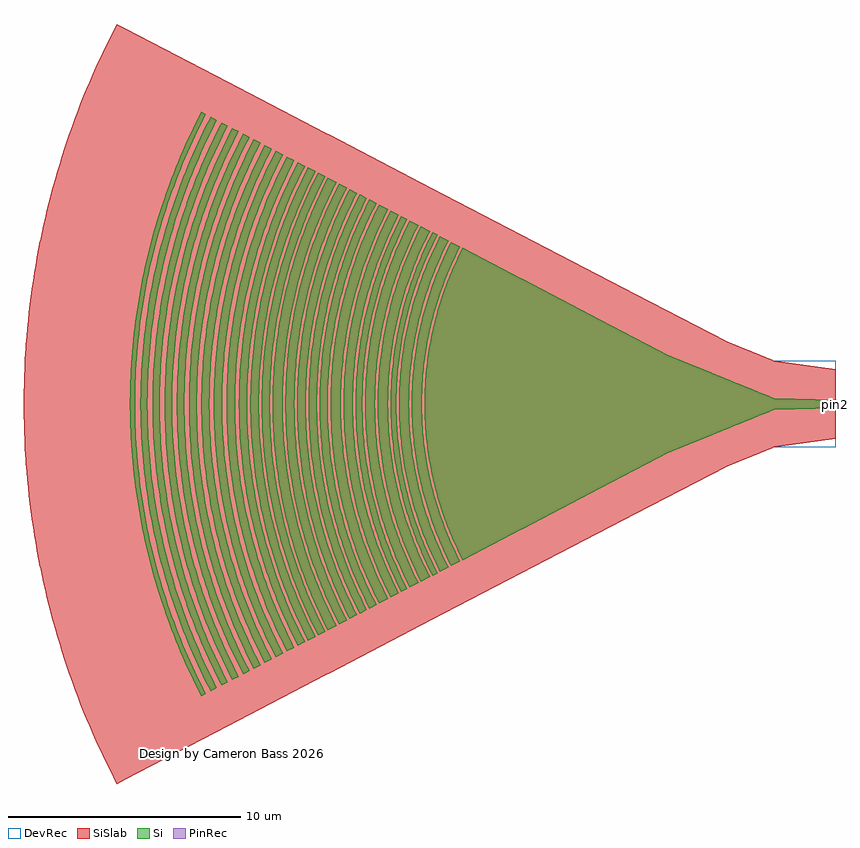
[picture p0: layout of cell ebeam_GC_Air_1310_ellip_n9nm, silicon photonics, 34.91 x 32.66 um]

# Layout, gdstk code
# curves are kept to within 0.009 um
import gdstk
lib = gdstk.Library(unit=1e-6, precision=1e-09)
def P(c, l, *ps):  # polygons
    for p in ps: c.add(gdstk.Polygon(p, *l))
Si = (1, 0)
PinRec = (1, 10)
SiSlab = (2, 0)
DevRec = (68, 0)

ebeam_gc_air_1310_ellip_ = lib.new_cell('ebeam_GC_Air_1310_ellip_n9nm')
P(ebeam_gc_air_1310_ellip_, Si, [(-16.044,-6.704),(-16.402,-5.965),(-16.776,-5.05),(-17.004,-4.381),(-17.269,-3.429),(-17.445,-2.599),(-17.572,-1.762),(-17.65,-0.917),(-17.678,-0.071),(-17.65,0.917),(-17.572,1.762),(-17.445,2.6),(-17.269,3.429),(-17.004,4.381),(-16.776,5.05),(-16.402,5.965),(-16.044,6.704),(-7.155,2.075),(-3.189,0.456),(-2.895,0.348),(-2.695,0.254),(-2.65,0.241),(0,0.175),(0,-0.175),(-2.68,-0.248),(-2.864,-0.335),(-3.204,-0.462),(-7.127,-2.062)],
  [(-16.536,-6.959),(-16.905,-6.195),(-17.242,-5.382),(-17.53,-4.55),(-17.77,-3.704),(-17.961,-2.844),(-18.101,-1.975),(-18.2,-0.953),(-18.23,-0.073),(-18.209,0.806),(-18.119,1.83),(-17.988,2.7),(-17.805,3.561),(-17.696,3.988),(-17.53,4.55),(-17.242,5.382),(-16.905,6.195),(-16.536,6.96),(-16.149,6.758),(-16.509,6.014),(-16.886,5.091),(-17.159,4.282),(-17.384,3.457),(-17.561,2.622),(-17.689,1.776),(-17.776,0.784),(-17.796,0.071),(-17.776,-0.784),(-17.689,-1.776),(-17.561,-2.621),(-17.384,-3.457),(-17.159,-4.282),(-16.886,-5.091),(-16.509,-6.014),(-16.149,-6.758)],
  [(-17.017,-7.21),(-17.399,-6.419),(-17.748,-5.577),(-18.046,-4.715),(-18.295,-3.838),(-18.492,-2.947),(-18.637,-2.047),(-18.73,-1.139),(-18.757,-0.684),(-18.771,-0.076),(-18.749,0.836),(-18.674,1.745),(-18.617,2.198),(-18.52,2.797),(-18.331,3.69),(-18.177,4.279),(-18.046,4.715),(-17.748,5.577),(-17.399,6.419),(-17.017,7.21),(-16.64,7.014),(-17.072,6.109),(-17.403,5.286),(-17.687,4.445),(-17.921,3.589),(-18.104,2.722),(-18.237,1.844),(-18.318,0.961),(-18.348,0.074),(-18.327,-0.812),(-18.237,-1.844),(-18.104,-2.722),(-17.921,-3.589),(-17.687,-4.445),(-17.403,-5.286),(-17.072,-6.109),(-16.64,-7.014)],
  [(-17.337,-7.377),(-17.728,-6.567),(-18.085,-5.706),(-18.39,-4.824),(-18.645,-3.927),(-18.847,-3.015),(-18.928,-2.556),(-19.015,-1.94),(-19.101,-1.01),(-19.132,-0.078),(-19.11,0.855),(-19.015,1.94),(-18.875,2.862),(-18.682,3.776),(-18.436,4.675),(-18.14,5.56),(-17.972,5.996),(-17.728,6.568),(-17.337,7.377),(-17.122,7.264),(-17.568,6.328),(-17.802,5.762),(-18.015,5.187),(-18.205,4.605),(-18.332,4.163),(-18.548,3.27),(-18.712,2.365),(-18.808,1.606),(-18.867,0.842),(-18.889,0.077),(-18.867,-0.842),(-18.808,-1.606),(-18.712,-2.365),(-18.548,-3.27),(-18.41,-3.866),(-18.291,-4.31),(-18.015,-5.187),(-17.802,-5.761),(-17.568,-6.328),(-17.122,-7.264)],
  [(-17.833,-7.635),(-18.302,-6.65),(-18.663,-5.755),(-18.97,-4.839),(-19.224,-3.908),(-19.424,-2.962),(-19.568,-2.008),(-19.657,-1.045),(-19.69,-0.08),(-19.666,0.886),(-19.587,1.848),(-19.452,2.804),(-19.331,3.437),(-19.224,3.908),(-18.97,4.839),(-18.663,5.755),(-18.489,6.206),(-18.237,6.798),(-17.833,7.635),(-17.442,7.431),(-17.899,6.474),(-18.194,5.748),(-18.504,4.86),(-18.76,3.956),(-18.992,2.884),(-19.132,1.954),(-19.196,1.331),(-19.228,0.861),(-19.25,0.078),(-19.228,-0.861),(-19.196,-1.331),(-19.132,-1.954),(-18.992,-2.884),(-18.797,-3.803),(-18.55,-4.711),(-18.249,-5.601),(-17.899,-6.474),(-17.442,-7.431)],
  [(-18.313,-7.885),(-18.731,-7.019),(-18.991,-6.408),(-19.17,-5.943),(-19.488,-4.997),(-19.75,-4.035),(-19.956,-3.059),(-20.106,-2.073),(-20.197,-1.08),(-20.231,-0.083),(-20.207,0.914),(-20.125,1.908),(-19.985,2.895),(-19.789,3.874),(-19.626,4.519),(-19.488,4.997),(-19.17,5.943),(-18.991,6.408),(-18.731,7.02),(-18.313,7.885),(-17.939,7.69),(-18.346,6.847),(-18.538,6.4),(-18.774,5.796),(-19.085,4.875),(-19.341,3.936),(-19.542,2.984),(-19.687,2.022),(-19.777,1.054),(-19.81,0.081),(-19.786,-0.891),(-19.706,-1.861),(-19.622,-2.504),(-19.542,-2.984),(-19.341,-3.935),(-19.085,-4.874),(-18.774,-5.796),(-18.346,-6.847),(-17.939,-7.69)],
  [(-18.675,-8.073),(-19.103,-7.186),(-19.494,-6.243),(-19.828,-5.278),(-20.02,-4.626),(-20.147,-4.131),(-20.358,-3.132),(-20.511,-2.122),(-20.605,-1.105),(-20.639,-0.085),(-20.615,0.935),(-20.531,1.954),(-20.388,2.964),(-20.26,3.633),(-20.147,4.131),(-20.02,4.626),(-19.828,5.278),(-19.494,6.243),(-19.103,7.186),(-18.675,8.073),(-18.418,7.94),(-18.699,7.373),(-18.906,6.916),(-19.162,6.297),(-19.338,5.827),(-19.502,5.352),(-19.696,4.711),(-19.826,4.226),(-19.977,3.574),(-20.156,2.585),(-20.261,1.755),(-20.326,0.92),(-20.35,0.084),(-20.326,-0.92),(-20.261,-1.755),(-20.156,-2.585),(-20.011,-3.41),(-19.905,-3.9),(-19.741,-4.549),(-19.553,-5.192),(-19.394,-5.669),(-18.973,-6.762),(-18.699,-7.373),(-18.418,-7.939)],
  [(-19.133,-8.312),(-19.574,-7.399),(-19.849,-6.754),(-20.038,-6.264),(-20.372,-5.267),(-20.649,-4.253),(-20.866,-3.224),(-21.024,-2.185),(-21.12,-1.138),(-21.156,-0.088),(-21.146,0.614),(-21.12,1.138),(-21.024,2.185),(-20.866,3.224),(-20.649,4.253),(-20.372,5.267),(-20.038,6.264),(-19.645,7.239),(-19.428,7.717),(-19.133,8.312),(-18.781,8.128),(-19.212,7.236),(-19.48,6.604),(-19.664,6.125),(-19.993,5.151),(-20.264,4.159),(-20.476,3.154),(-20.63,2.137),(-20.724,1.114),(-20.759,0.086),(-20.734,-0.942),(-20.65,-1.967),(-20.506,-2.985),(-20.412,-3.49),(-20.264,-4.159),(-19.993,-5.151),(-19.664,-6.125),(-19.281,-7.079),(-19.069,-7.547),(-18.781,-8.128)],
  [(-19.632,-8.572),(-20.085,-7.632),(-20.5,-6.631),(-20.854,-5.606),(-21.15,-4.563),(-21.384,-3.504),(-21.557,-2.434),(-21.667,-1.354),(-21.698,-0.814),(-21.716,-0.09),(-21.69,0.993),(-21.6,2.075),(-21.449,3.148),(-21.313,3.858),(-21.193,4.388),(-20.908,5.433),(-20.685,6.121),(-20.5,6.631),(-20.085,7.632),(-19.632,8.572),(-19.239,8.367),(-19.535,7.769),(-19.754,7.287),(-20.087,6.47),(-20.325,5.806),(-20.487,5.303),(-20.723,4.452),(-20.951,3.42),(-21.12,2.375),(-21.198,1.674),(-21.239,1.146),(-21.275,0.088),(-21.27,-0.441),(-21.239,-1.146),(-21.142,-2.199),(-20.984,-3.246),(-20.765,-4.281),(-20.487,-5.302),(-20.268,-5.973),(-20.087,-6.47),(-19.754,-7.287),(-19.535,-7.768),(-19.239,-8.367)],
  [(-20.047,-8.788),(-20.513,-7.822),(-20.938,-6.796),(-21.302,-5.745),(-21.605,-4.676),(-21.845,-3.591),(-22.022,-2.494),(-22.135,-1.388),(-22.167,-0.834),(-22.185,-0.093),(-22.158,1.018),(-22.067,2.126),(-21.997,2.678),(-21.879,3.409),(-21.649,4.497),(-21.356,5.568),(-21.003,6.622),(-20.588,7.653),(-20.358,8.159),(-20.047,8.788),(-19.741,8.628),(-19.967,8.176),(-20.271,7.516),(-20.549,6.843),(-20.74,6.332),(-20.973,5.643),(-21.178,4.944),(-21.355,4.239),(-21.471,3.705),(-21.628,2.809),(-21.742,1.907),(-21.813,1),(-21.839,0.091),(-21.829,-0.636),(-21.76,-1.726),(-21.655,-2.629),(-21.471,-3.705),(-21.355,-4.238),(-21.178,-4.944),(-20.973,-5.642),(-20.801,-6.16),(-20.549,-6.842),(-20.343,-7.348),(-20.045,-8.012),(-19.741,-8.628)],
  [(-20.467,-9.007),(-20.946,-8.015),(-21.382,-6.963),(-21.754,-5.887),(-22.065,-4.792),(-22.196,-4.237),(-22.346,-3.493),(-22.516,-2.367),(-22.621,-1.233),(-22.66,-0.095),(-22.632,1.043),(-22.538,2.179),(-22.379,3.306),(-22.275,3.866),(-22.11,4.608),(-21.81,5.706),(-21.637,6.248),(-21.382,6.963),(-20.946,8.015),(-20.467,9.007),(-20.153,8.843),(-20.466,8.21),(-20.771,7.53),(-21.049,6.838),(-21.241,6.312),(-21.416,5.782),(-21.626,5.066),(-21.809,4.343),(-21.927,3.797),(-22.088,2.878),(-22.205,1.954),(-22.277,1.024),(-22.304,0.093),(-22.286,-0.838),(-22.223,-1.769),(-22.115,-2.694),(-21.927,-3.797),(-21.809,-4.343),(-21.626,-5.066),(-21.471,-5.604),(-21.241,-6.312),(-20.982,-7.011),(-20.771,-7.53),(-20.466,-8.21),(-20.153,-8.843)],
  [(-20.902,-9.233),(-21.394,-8.213),(-21.84,-7.136),(-22.04,-6.587),(-22.222,-6.033),(-22.541,-4.911),(-22.675,-4.342),(-22.829,-3.579),(-23.004,-2.426),(-23.111,-1.263),(-23.15,-0.097),(-23.145,0.487),(-23.111,1.263),(-23.004,2.426),(-22.829,3.58),(-22.587,4.722),(-22.28,5.847),(-21.909,6.954),(-21.473,8.036),(-21.231,8.567),(-20.902,9.233),(-20.577,9.063),(-20.9,8.411),(-21.212,7.714),(-21.497,7.005),(-21.694,6.467),(-21.874,5.923),(-22.089,5.19),(-22.232,4.635),(-22.397,3.89),(-22.562,2.949),(-22.682,2.002),(-22.756,1.05),(-22.784,0.096),(-22.765,-0.859),(-22.701,-1.812),(-22.59,-2.76),(-22.397,-3.89),(-22.232,-4.635),(-22.089,-5.19),(-21.874,-5.923),(-21.694,-6.467),(-21.497,-7.005),(-21.212,-7.714),(-20.9,-8.411),(-20.577,-9.063)],
  [(-21.353,-9.468),(-21.691,-8.786),(-21.938,-8.24),(-22.17,-7.689),(-22.385,-7.131),(-22.766,-5.996),(-23.081,-4.842),(-23.329,-3.671),(-23.508,-2.488),(-23.618,-1.295),(-23.647,-0.698),(-23.658,-0.1),(-23.653,0.499),(-23.618,1.296),(-23.508,2.488),(-23.329,3.671),(-23.081,4.842),(-22.766,5.996),(-22.385,7.131),(-22.17,7.69),(-21.938,8.241),(-21.691,8.786),(-21.353,9.468),(-21.007,9.287),(-21.254,8.795),(-21.581,8.084),(-21.808,7.542),(-22.086,6.811),(-22.277,6.256),(-22.505,5.506),(-22.703,4.749),(-22.873,3.986),(-23.042,3.022),(-23.165,2.051),(-23.241,1.075),(-23.269,0.098),(-23.25,-0.88),(-23.184,-1.857),(-23.071,-2.828),(-22.873,-3.985),(-22.703,-4.749),(-22.557,-5.318),(-22.337,-6.069),(-22.152,-6.626),(-21.88,-7.36),(-21.581,-8.084),(-21.338,-8.618),(-21.007,-9.287)],
  [(-21.841,-9.721),(-22.098,-9.208),(-22.44,-8.463),(-22.678,-7.897),(-22.899,-7.323),(-23.103,-6.744),(-23.29,-6.158),(-23.461,-5.568),(-23.614,-4.973),(-23.75,-4.373),(-23.868,-3.77),(-23.969,-3.164),(-24.052,-2.555),(-24.165,-1.33),(-24.195,-0.717),(-24.206,-0.102),(-24.177,1.127),(-24.076,2.352),(-23.969,3.164),(-23.868,3.77),(-23.75,4.373),(-23.614,4.973),(-23.461,5.569),(-23.29,6.158),(-23.103,6.744),(-22.899,7.324),(-22.678,7.897),(-22.44,8.463),(-22.098,9.208),(-21.841,9.722),(-21.458,9.522),(-21.798,8.837),(-22.046,8.289),(-22.496,7.172),(-22.697,6.605),(-22.88,6.032),(-23.197,4.87),(-23.446,3.693),(-23.626,2.502),(-23.69,1.904),(-23.736,1.304),(-23.777,0.1),(-23.748,-1.103),(-23.69,-1.904),(-23.626,-2.502),(-23.446,-3.693),(-23.197,-4.87),(-22.88,-6.032),(-22.697,-6.604),(-22.496,-7.172),(-22.046,-8.289),(-21.798,-8.837),(-21.458,-9.522)],
  [(-22.255,-9.937),(-22.783,-8.841),(-23.032,-8.265),(-23.264,-7.681),(-23.478,-7.091),(-23.737,-6.294),(-24.068,-5.083),(-24.327,-3.853),(-24.43,-3.234),(-24.515,-2.611),(-24.582,-1.986),(-24.631,-1.36),(-24.661,-0.733),(-24.673,-0.105),(-24.667,0.524),(-24.643,1.152),(-24.54,2.403),(-24.461,3.027),(-24.364,3.647),(-24.249,4.265),(-24.068,5.083),(-23.737,6.294),(-23.545,6.893),(-23.264,7.681),(-23.032,8.266),(-22.783,8.842),(-22.255,9.937),(-21.946,9.776),(-22.293,9.074),(-22.548,8.512),(-22.863,7.75),(-23.08,7.171),(-23.281,6.587),(-23.52,5.798),(-23.68,5.201),(-23.866,4.398),(-23.985,3.792),(-24.086,3.181),(-24.215,2.16),(-24.295,1.133),(-24.325,0.103),(-24.319,-0.515),(-24.295,-1.132),(-24.215,-2.16),(-24.086,-3.181),(-23.985,-3.792),(-23.866,-4.398),(-23.68,-5.201),(-23.52,-5.797),(-23.281,-6.586),(-23.08,-7.171),(-22.787,-7.941),(-22.548,-8.511),(-22.293,-9.074),(-21.946,-9.776)],
  [(-22.689,-10.163),(-22.96,-9.623),(-23.231,-9.04),(-23.486,-8.451),(-23.723,-7.854),(-23.942,-7.25),(-24.143,-6.64),(-24.385,-5.819),(-24.545,-5.197),(-24.687,-4.57),(-24.81,-3.94),(-24.916,-3.307),(-25.003,-2.67),(-25.071,-2.031),(-25.121,-1.39),(-25.152,-0.75),(-25.164,-0.107),(-25.158,0.536),(-25.133,1.178),(-25.09,1.818),(-25.028,2.457),(-24.947,3.095),(-24.848,3.729),(-24.687,4.57),(-24.545,5.197),(-24.385,5.819),(-24.206,6.436),(-23.798,7.654),(-23.567,8.253),(-23.318,8.845),(-22.96,9.623),(-22.689,10.163),(-22.363,9.993),(-22.719,9.274),(-22.98,8.699),(-23.302,7.92),(-23.594,7.131),(-23.793,6.531),(-24.03,5.722),(-24.327,4.495),(-24.519,3.46),(-24.662,2.417),(-24.753,1.368),(-24.784,0.737),(-24.796,0.105),(-24.776,-0.947),(-24.739,-1.578),(-24.684,-2.207),(-24.552,-3.251),(-24.327,-4.495),(-24.137,-5.315),(-23.973,-5.925),(-23.793,-6.531),(-23.523,-7.329),(-23.302,-7.92),(-22.98,-8.699),(-22.719,-9.274),(-22.363,-9.993)],
  [(-23.121,-10.388),(-23.401,-9.83),(-23.678,-9.235),(-23.938,-8.633),(-24.181,-8.023),(-24.405,-7.406),(-24.611,-6.783),(-24.799,-6.155),(-24.969,-5.521),(-25.12,-4.883),(-25.253,-4.24),(-25.367,-3.594),(-25.462,-2.945),(-25.538,-2.293),(-25.61,-1.42),(-25.642,-0.766),(-25.654,-0.109),(-25.648,0.547),(-25.623,1.202),(-25.578,1.857),(-25.515,2.51),(-25.432,3.162),(-25.331,3.81),(-25.211,4.455),(-25.021,5.309),(-24.857,5.945),(-24.675,6.574),(-24.475,7.2),(-24.258,7.819),(-24.021,8.431),(-23.767,9.035),(-23.496,9.633),(-23.121,10.388),(-22.811,10.227),(-23.177,9.486),(-23.53,8.701),(-23.774,8.102),(-24,7.497),(-24.276,6.681),(-24.461,6.062),(-24.68,5.228),(-24.823,4.598),(-25.02,3.539),(-25.113,2.9),(-25.188,2.258),(-25.271,1.185),(-25.303,0.108),(-25.282,-0.969),(-25.244,-1.614),(-25.188,-2.258),(-25.02,-3.539),(-24.823,-4.598),(-24.68,-5.228),(-24.461,-6.061),(-24.276,-6.681),(-24,-7.497),(-23.774,-8.102),(-23.444,-8.898),(-23.177,-9.486),(-22.811,-10.226)],
  [(-23.59,-10.633),(-23.88,-10.055),(-24.164,-9.447),(-24.43,-8.831),(-24.678,-8.207),(-24.908,-7.576),(-25.118,-6.939),(-25.311,-6.296),(-25.485,-5.648),(-25.64,-4.994),(-25.775,-4.337),(-25.927,-3.455),(-26.018,-2.79),(-26.089,-2.122),(-26.141,-1.453),(-26.174,-0.783),(-26.187,-0.112),(-26.18,0.56),(-26.154,1.231),(-26.109,1.9),(-26.044,2.568),(-25.959,3.234),(-25.855,3.898),(-25.687,4.776),(-25.538,5.431),(-25.371,6.081),(-25.184,6.725),(-24.979,7.365),(-24.757,7.998),(-24.515,8.624),(-24.255,9.242),(-23.977,9.854),(-23.59,10.633),(-23.269,10.465),(-23.647,9.702),(-23.92,9.101),(-24.176,8.491),(-24.489,7.668),(-24.704,7.043),(-24.961,6.199),(-25.185,5.347),(-25.331,4.703),(-25.533,3.619),(-25.682,2.528),(-25.745,1.871),(-25.79,1.212),(-25.822,0.11),(-25.801,-0.991),(-25.763,-1.651),(-25.705,-2.309),(-25.567,-3.402),(-25.458,-4.054),(-25.331,-4.703),(-25.185,-5.347),(-24.961,-6.199),(-24.704,-7.042),(-24.489,-7.667),(-24.176,-8.491),(-23.92,-9.101),(-23.647,-9.702),(-23.269,-10.465)],
  [(-24.073,-10.884),(-24.373,-10.287),(-24.663,-9.664),(-24.936,-9.034),(-25.19,-8.396),(-25.425,-7.751),(-25.708,-6.88),(-25.899,-6.221),(-26.07,-5.556),(-26.222,-4.886),(-26.355,-4.212),(-26.468,-3.535),(-26.561,-2.854),(-26.634,-2.171),(-26.687,-1.486),(-26.721,-0.801),(-26.734,-0.114),(-26.727,0.573),(-26.701,1.258),(-26.654,1.943),(-26.561,2.855),(-26.468,3.535),(-26.355,4.212),(-26.222,4.886),(-26.07,5.556),(-25.899,6.221),(-25.708,6.88),(-25.424,7.751),(-25.19,8.396),(-24.936,9.035),(-24.663,9.664),(-24.373,10.287),(-24.073,10.884),(-23.757,10.719),(-24.05,10.135),(-24.336,9.522),(-24.689,8.692),(-24.933,8.061),(-25.159,7.423),(-25.431,6.563),(-25.612,5.911),(-25.825,5.034),(-26.042,3.928),(-26.146,3.259),(-26.232,2.588),(-26.33,1.465),(-26.363,0.789),(-26.376,0.113),(-26.354,-1.014),(-26.314,-1.69),(-26.256,-2.364),(-26.114,-3.482),(-26.003,-4.15),(-25.872,-4.814),(-25.723,-5.473),(-25.493,-6.345),(-25.23,-7.209),(-25.01,-7.849),(-24.773,-8.482),(-24.427,-9.316),(-24.05,-10.135),(-23.757,-10.719)],
  [(-24.543,-11.129),(-24.852,-10.515),(-25.149,-9.878),(-25.428,-9.234),(-25.687,-8.582),(-25.928,-7.922),(-26.148,-7.256),(-26.412,-6.359),(-26.588,-5.679),(-26.743,-4.994),(-26.879,-4.305),(-26.994,-3.613),(-27.089,-2.918),(-27.164,-2.219),(-27.219,-1.519),(-27.253,-0.819),(-27.266,-0.117),(-27.253,0.819),(-27.219,1.52),(-27.164,2.22),(-27.089,2.918),(-26.994,3.613),(-26.879,4.305),(-26.743,4.994),(-26.588,5.679),(-26.412,6.359),(-26.148,7.256),(-25.928,7.922),(-25.687,8.582),(-25.428,9.234),(-25.149,9.878),(-24.852,10.515),(-24.543,11.129),(-24.238,10.97),(-24.641,10.159),(-24.928,9.529),(-25.281,8.676),(-25.524,8.028),(-25.82,7.154),(-26.018,6.492),(-26.198,5.822),(-26.406,4.924),(-26.618,3.79),(-26.774,2.647),(-26.875,1.499),(-26.908,0.807),(-26.921,0.115),(-26.915,-0.576),(-26.888,-1.268),(-26.798,-2.418),(-26.718,-3.105),(-26.618,-3.79),(-26.406,-4.924),(-26.253,-5.598),(-26.08,-6.268),(-25.82,-7.154),(-25.602,-7.811),(-25.281,-8.676),(-24.928,-9.529),(-24.641,-10.159),(-24.238,-10.97)],
  [(-25.016,-11.375),(-25.333,-10.745),(-25.637,-10.095),(-25.921,-9.437),(-26.187,-8.77),(-26.432,-8.096),(-26.657,-7.415),(-26.864,-6.727),(-27.05,-6.035),(-27.215,-5.337),(-27.361,-4.634),(-27.485,-3.929),(-27.59,-3.219),(-27.673,-2.506),(-27.736,-1.791),(-27.787,-0.837),(-27.801,-0.12),(-27.794,0.598),(-27.766,1.314),(-27.717,2.03),(-27.648,2.744),(-27.557,3.456),(-27.405,4.399),(-27.266,5.104),(-27.107,5.803),(-26.928,6.498),(-26.728,7.187),(-26.509,7.87),(-26.187,8.77),(-25.921,9.437),(-25.637,10.095),(-25.333,10.745),(-25.016,11.375),(-24.718,11.22),(-25.132,10.387),(-25.425,9.743),(-25.699,9.09),(-26.035,8.209),(-26.265,7.54),(-26.475,6.864),(-26.665,6.182),(-26.887,5.265),(-27.115,4.109),(-27.224,3.409),(-27.313,2.707),(-27.382,2.003),(-27.43,1.296),(-27.464,0.118),(-27.457,-0.589),(-27.43,-1.296),(-27.338,-2.472),(-27.19,-3.642),(-27.074,-4.341),(-26.937,-5.035),(-26.724,-5.953),(-26.54,-6.636),(-26.265,-7.54),(-26.035,-8.209),(-25.699,-9.09),(-25.425,-9.743),(-25.03,-10.6),(-24.718,-11.219)],
  [(-25.478,-11.615),(-25.802,-10.971),(-26.112,-10.307),(-26.402,-9.635),(-26.673,-8.954),(-26.924,-8.266),(-27.154,-7.571),(-27.365,-6.869),(-27.555,-6.162),(-27.776,-5.211),(-27.917,-4.492),(-28.038,-3.77),(-28.137,-3.044),(-28.215,-2.316),(-28.272,-1.585),(-28.307,-0.855),(-28.322,-0.122),(-28.307,0.855),(-28.272,1.585),(-28.215,2.316),(-28.137,3.044),(-28.038,3.77),(-27.917,4.492),(-27.776,5.211),(-27.613,5.925),(-27.43,6.635),(-27.227,7.337),(-27.003,8.035),(-26.759,8.726),(-26.495,9.409),(-26.211,10.084),(-25.802,10.971),(-25.478,11.615),(-25.192,11.466),(-25.616,10.614),(-25.915,9.956),(-26.285,9.065),(-26.539,8.388),(-26.774,7.704),(-26.988,7.014),(-27.183,6.317),(-27.41,5.38),(-27.556,4.672),(-27.682,3.96),(-27.845,2.766),(-27.915,2.047),(-27.964,1.326),(-27.999,0.121),(-27.976,-1.084),(-27.934,-1.806),(-27.871,-2.526),(-27.787,-3.244),(-27.682,-3.959),(-27.461,-5.144),(-27.243,-6.083),(-27.055,-6.781),(-26.848,-7.475),(-26.539,-8.388),(-26.285,-9.065),(-25.915,-9.956),(-25.616,-10.614),(-25.192,-11.466)],
  [(-25.943,-11.857),(-26.274,-11.199),(-26.591,-10.521),(-26.887,-9.836),(-27.164,-9.141),(-27.42,-8.438),(-27.655,-7.728),(-27.87,-7.012),(-28.064,-6.29),(-28.289,-5.319),(-28.434,-4.585),(-28.556,-3.848),(-28.658,-3.107),(-28.738,-2.364),(-28.796,-1.618),(-28.832,-0.872),(-28.846,-0.125),(-28.832,0.872),(-28.796,1.618),(-28.738,2.364),(-28.658,3.108),(-28.556,3.849),(-28.434,4.585),(-28.289,5.319),(-28.123,6.048),(-27.937,6.773),(-27.729,7.49),(-27.5,8.202),(-27.252,8.907),(-26.982,9.605),(-26.591,10.521),(-26.274,11.199),(-25.943,11.858),(-25.662,11.711),(-25.989,11.062),(-26.401,10.168),(-26.687,9.486),(-27.038,8.566),(-27.278,7.868),(-27.566,6.926),(-27.757,6.213),(-27.98,5.254),(-28.205,4.044),(-28.372,2.825),(-28.444,2.09),(-28.494,1.353),(-28.53,0.123),(-28.522,-0.615),(-28.494,-1.353),(-28.398,-2.58),(-28.243,-3.8),(-28.122,-4.529),(-27.98,-5.254),(-27.816,-5.974),(-27.566,-6.925),(-27.278,-7.868),(-27.038,-8.566),(-26.687,-9.486),(-26.401,-10.167),(-25.989,-11.061),(-25.662,-11.711)],
  [(-26.402,-12.096),(-26.74,-11.424),(-27.063,-10.733),(-27.365,-10.033),(-27.647,-9.324),(-27.909,-8.607),(-28.148,-7.883),(-28.367,-7.153),(-28.565,-6.417),(-28.741,-5.674),(-28.896,-4.927),(-29.029,-4.177),(-29.139,-3.422),(-29.228,-2.664),(-29.295,-1.904),(-29.349,-0.89),(-29.364,-0.127),(-29.356,0.636),(-29.327,1.397),(-29.275,2.158),(-29.201,2.918),(-29.105,3.674),(-28.943,4.677),(-28.795,5.426),(-28.626,6.17),(-28.436,6.909),(-28.224,7.641),(-27.909,8.608),(-27.737,9.086),(-27.462,9.798),(-27.063,10.733),(-26.74,11.424),(-26.402,12.096),(-26.131,11.955),(-26.465,11.292),(-26.784,10.609),(-27.083,9.916),(-27.45,8.981),(-27.702,8.27),(-28.005,7.312),(-28.27,6.342),(-28.444,5.609),(-28.597,4.871),(-28.728,4.128),(-28.898,2.884),(-29.008,1.633),(-29.044,0.879),(-29.059,0.126),(-29.051,-0.628),(-29.022,-1.381),(-28.925,-2.634),(-28.837,-3.382),(-28.728,-4.128),(-28.597,-4.871),(-28.444,-5.609),(-28.27,-6.342),(-28.005,-7.312),(-27.702,-8.27),(-27.45,-8.98),(-27.178,-9.683),(-26.886,-10.379),(-26.574,-11.065),(-26.131,-11.955)],
  [(-26.872,-12.341),(-27.322,-11.435),(-27.644,-10.726),(-27.946,-10.008),(-28.227,-9.281),(-28.485,-8.547),(-28.723,-7.805),(-28.939,-7.057),(-29.134,-6.302),(-29.306,-5.542),(-29.456,-4.778),(-29.584,-4.01),(-29.69,-3.238),(-29.772,-2.463),(-29.833,-1.686),(-29.871,-0.909),(-29.886,-0.13),(-29.871,0.909),(-29.833,1.686),(-29.772,2.463),(-29.69,3.238),(-29.584,4.01),(-29.456,4.778),(-29.306,5.543),(-29.134,6.302),(-28.939,7.057),(-28.723,7.805),(-28.485,8.547),(-28.227,9.282),(-27.946,10.008),(-27.644,10.726),(-27.322,11.435),(-26.872,12.342),(-26.598,12.199),(-27.05,11.29),(-27.369,10.59),(-27.762,9.642),(-28.032,8.922),(-28.282,8.195),(-28.51,7.46),(-28.781,6.471),(-28.958,5.723),(-29.206,4.465),(-29.325,3.705),(-29.422,2.942),(-29.496,2.177),(-29.548,1.41),(-29.586,0.128),(-29.561,-1.153),(-29.516,-1.921),(-29.449,-2.687),(-29.288,-3.958),(-29.161,-4.718),(-29.013,-5.472),(-28.781,-6.47),(-28.581,-7.213),(-28.361,-7.951),(-28.032,-8.922),(-27.762,-9.642),(-27.369,-10.59),(-27.05,-11.29),(-26.598,-12.198)],
  [(-27.27,-12.549),(-27.621,-11.849),(-27.956,-11.132),(-28.269,-10.407),(-28.561,-9.671),(-28.818,-8.969),(-29.08,-8.177),(-29.307,-7.42),(-29.512,-6.656),(-29.694,-5.886),(-29.854,-5.111),(-29.992,-4.332),(-30.107,-3.55),(-30.224,-2.501),(-30.28,-1.793),(-30.324,-0.923),(-30.339,-0.132),(-30.331,0.659),(-30.301,1.449),(-30.247,2.239),(-30.14,3.288),(-30.033,4.072),(-29.903,4.852),(-29.75,5.628),(-29.575,6.4),(-29.378,7.166),(-29.158,7.925),(-28.917,8.679),(-28.654,9.425),(-28.369,10.163),(-27.956,11.133),(-27.621,11.85),(-27.27,12.549),(-27.077,12.448),(-27.417,11.77),(-27.749,11.059),(-28.159,10.094),(-28.442,9.361),(-28.705,8.621),(-28.945,7.873),(-29.231,6.864),(-29.419,6.102),(-29.684,4.82),(-29.813,4.044),(-29.919,3.266),(-30.003,2.485),(-30.064,1.702),(-30.102,0.916),(-30.117,0.131),(-30.092,-1.178),(-30.046,-1.963),(-29.977,-2.745),(-29.886,-3.525),(-29.772,-4.303),(-29.636,-5.077),(-29.477,-5.846),(-29.231,-6.864),(-29.02,-7.622),(-28.787,-8.372),(-28.532,-9.115),(-28.256,-9.851),(-27.855,-10.819),(-27.53,-11.534),(-27.077,-12.448)])
P(ebeam_gc_air_1310_ellip_, SiSlab, [(-30.904,-16.329),(-31.366,-15.41),(-31.801,-14.477),(-32.208,-13.533),(-32.588,-12.577),(-32.94,-11.61),(-33.264,-10.634),(-33.559,-9.648),(-33.825,-8.655),(-34.062,-7.654),(-34.27,-6.647),(-34.449,-5.634),(-34.598,-4.616),(-34.717,-3.594),(-34.807,-2.569),(-34.867,-1.543),(-34.9,-0.171),(-34.89,0.857),(-34.85,1.885),(-34.781,2.912),(-34.681,3.935),(-34.552,4.956),(-34.393,5.972),(-34.135,7.319),(-33.907,8.322),(-33.651,9.318),(-33.365,10.307),(-33.051,11.286),(-32.709,12.256),(-32.338,13.216),(-31.94,14.164),(-31.366,15.41),(-30.904,16.329),(-4.744,2.708),(-2.65,1.855),(0,1.5),(0,-1.5),(-2.65,-1.855),(-4.728,-2.7)])
P(ebeam_gc_air_1310_ellip_, DevRec, [(-30.904,-16.329),(-31.366,-15.41),(-31.801,-14.477),(-32.208,-13.533),(-32.588,-12.577),(-32.94,-11.61),(-33.264,-10.634),(-33.559,-9.648),(-33.825,-8.655),(-34.062,-7.654),(-34.27,-6.647),(-34.449,-5.634),(-34.598,-4.616),(-34.717,-3.594),(-34.807,-2.569),(-34.867,-1.543),(-34.9,-0.171),(-34.89,0.857),(-34.85,1.885),(-34.781,2.912),(-34.681,3.935),(-34.552,4.956),(-34.393,5.972),(-34.135,7.319),(-33.907,8.322),(-33.651,9.318),(-33.365,10.307),(-33.051,11.286),(-32.709,12.256),(-32.338,13.216),(-31.94,14.164),(-31.366,15.41),(-30.904,16.329),(-4.744,2.708),(-2.65,1.855),(0,1.855),(0,-1.855),(-2.65,-1.855),(-4.728,-2.7)])
ebeam_gc_air_1310_ellip_.add(gdstk.FlexPath([(-0.01,0),(0.01,0)], 0.35, ends="flush", simple_path=True, layer=1, datatype=10))  # PinRec
ebeam_gc_air_1310_ellip_.add(gdstk.Label('pin2', (0,0), layer=1, texttype=10))
ebeam_gc_air_1310_ellip_.add(gdstk.Label('Design by Cameron Bass 2026', (-25.94,-15.02), layer=10, texttype=0))

lib.write_gds('ebeam_GC_Air_1310_ellip_n9nm.gds')
